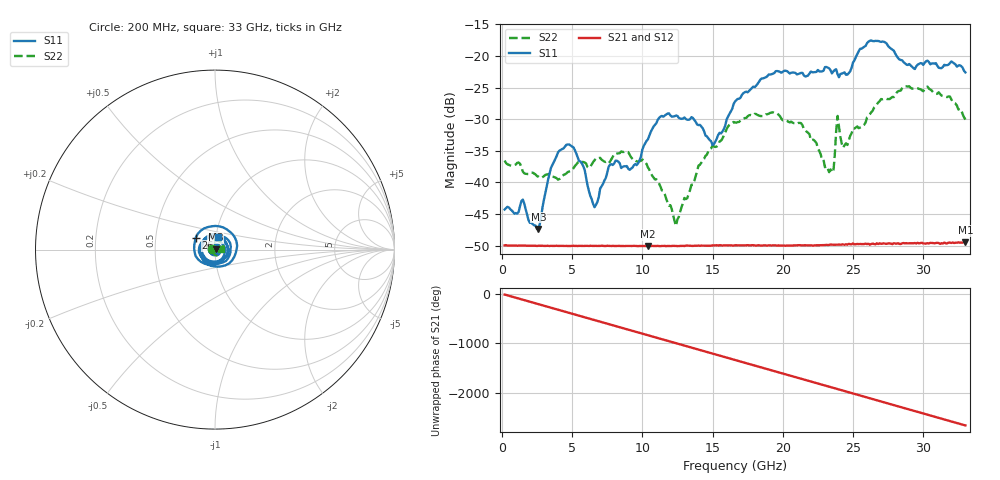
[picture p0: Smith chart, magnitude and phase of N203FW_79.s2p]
# GHZ S RI R 50
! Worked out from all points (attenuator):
!   329 points, 200 MHz to 33 GHz, reference 50 ohm
!   highest |S21| = -49.45 dB at 33 GHz (marker M1); lowest = -50.1 dB at 10.4 GHz (marker M2)
!   lowest |S11| = -47.4 dB at 2.6 GHz (marker M3), VSWR 1.01, Z = 50.4 + j0.11 ohm
!   |S11| at or under -10 dB: start of sweep to end of sweep
!   |S22| runs from -46.9 to -24.8 dB; largest |S21 - S12| = 8.8e-05
!   S11 on the Smith chart (normalised r, x): 200 MHz: 1.01, +0.00; 26 GHz: 0.80, +0.11; 33 GHz: 1.03, +0.15
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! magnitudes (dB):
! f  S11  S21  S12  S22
! 200 MHz  -44.3  -50.0  -49.9  -36.5
! 1.5 GHz  -42.7  -50.0  -50.0  -38.3
! 2.6 GHz  -47.4  -50.0  -50.0  -39.1
! 4 GHz  -35.2  -50.0  -50.0  -39.6
! 5.7 GHz  -37.0  -50.0  -50.0  -36.7
! 6.6 GHz  -43.9  -50.0  -50.0  -36.5
! 7.7 GHz  -37.2  -50.0  -50.0  -36.7
! 9.1 GHz  -38.0  -50.0  -50.0  -35.6
! 10.4 GHz  -33.2  -50.1  -50.1  -37.6
! 11.2 GHz  -29.8  -50.1  -50.1  -40.2
! 12.4 GHz  -29.4  -50.1  -50.0  -46.9
! 15 GHz  -34.1  -50.0  -50.0  -34.2
! 16.6 GHz  -27.2  -49.9  -49.9  -30.5
! 19.3 GHz  -22.8  -50.0  -50.0  -28.9
! 22.1 GHz  -22.6  -50.0  -49.9  -33.2
! 23.6 GHz  -22.4  -49.9  -49.9  -38.3
! 23.9 GHz  -22.9  -49.8  -49.9  -29.5
! 24.3 GHz  -22.7  -49.8  -49.8  -34.5
! 26 GHz  -18.0  -49.8  -49.7  -29.7
! 27.6 GHz  -18.6  -49.7  -49.7  -26.8
! 30.3 GHz  -20.7  -49.6  -49.7  -24.8
! 33 GHz  -22.6  -49.5  -49.5  -30.1
